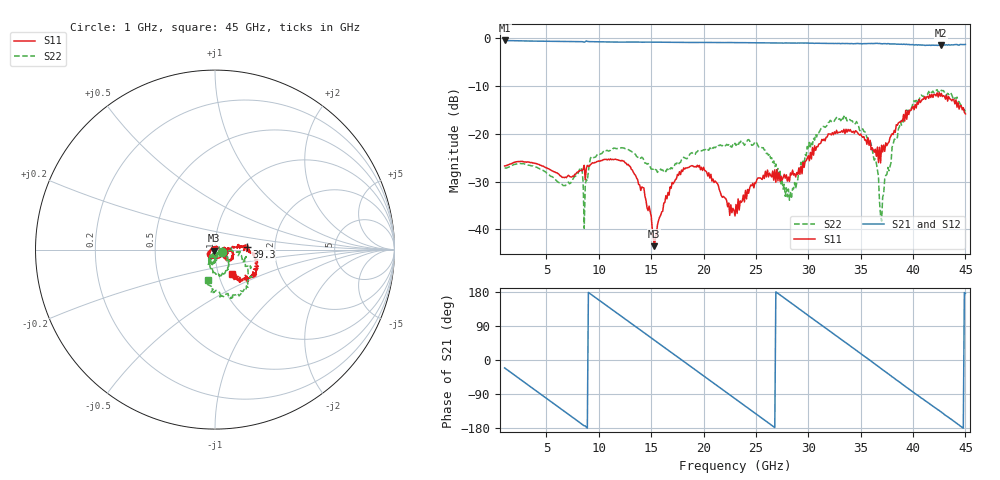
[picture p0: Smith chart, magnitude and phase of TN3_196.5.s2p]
!Keysight Technologies,N5247B,MY61255062,A.19.80.06
!Date: Monday, May 18, 2026 12:23:53
!Correction: S11(Cdelta 2-Port  )
!S21(Cdelta 2-Port  )
!S12(Cdelta 2-Port  )
!S22(Cdelta 2-Port  )
!S2P File: Measurements: S11, S21, S12, S22:
# Hz S  dB  R 50
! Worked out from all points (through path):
!   441 points, 1 GHz to 45 GHz, reference 50 ohm
!   highest |S21| = -0.41 dB at 1 GHz (marker M1); lowest = -1.5 dB at 42.7 GHz (marker M2)
!   group delay of S21, straight-line fit = 55.8 ps
!   lowest |S11| = -43.5 dB at 15.3 GHz (marker M3), VSWR 1.01, Z = 49.6 - j0.55 ohm
!   |S11| at or under -10 dB: start of sweep to end of sweep
!   |S22| runs from -39.8 to -10.7 dB; largest |S21 - S12| = 0.017
!   S11 on the Smith chart (normalised r, x): 1 GHz: 1.09, -0.03; 39.3 GHz: 1.43, +0.04; 45 GHz: 1.16, -0.32
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1e9  -26.70 -18.7  -0.41 -20.8  -0.41 -20.8  -27.06 -20.4
4.6e9  -26.72 -95.9  -0.57 -93.3  -0.57 -93.3  -27.63 -94.0
8.4e9  -27.71 -100.7  -0.67 -169.7  -0.67 -169.7  -27.64 -66.7
9.4e9  -26.02 -107.4  -0.68 170.3  -0.68 170.3  -24.74 -80.6
1.22e10  -25.54 -141.3  -0.76 114.4  -0.76 114.4  -22.88 -109.0
1.43e10  -31.29 -164.9  -0.77 72.5  -0.77 72.4  -25.47 -124.5
1.53e10  -43.50 -124.0  -0.78 52.4  -0.78 52.3  -27.13 -115.0
1.57e10  -38.10 -88.1  -0.78 44.3  -0.78 44.3  -27.70 -111.0
1.9e10  -26.75 -113.7  -0.83 -21.7  -0.83 -21.7  -24.22 -87.8
2.11e10  -29.85 -152.8  -0.87 -63.8  -0.87 -63.9  -22.88 -93.5
2.3e10  -37.17 87.5  -0.87 -102.0  -0.87 -102.1  -21.95 -98.1
2.68e10  -27.50 -27.2  -0.92 -178.2  -0.92 -178.3  -26.82 -122.1
2.82e10  -29.94 -18.0  -0.96 153.6  -0.94 153.5  -33.88 -77.1
3.04e10  -22.83 2.3  -0.98 109.4  -1.00 109.1  -22.25 -37.9
3.24e10  -20.17 -11.8  -1.05 69.2  -1.06 69.2  -17.57 -63.3
3.46e10  -19.47 -35.9  -1.04 25.1  -1.12 25.1  -17.40 -94.4
3.6e10  -23.31 -41.4  -1.04 -3.0  -1.04 -3.0  -22.15 -113.2
3.7e10  -22.38 -15.9  -1.09 -23.6  -1.09 -23.5  -38.26 -74.1
3.77e10  -21.72 -0.3  -1.10 -37.7  -1.12 -37.9  -27.70 5.1
3.93e10  -15.06 4.8  -1.25 -70.5  -1.24 -71.0  -15.85 -20.1
4.27e10  -11.49 -34.9  -1.47 -137.3  -1.38 -137.5  -10.83 -69.7
4.5e10  -15.79 -55.2  -1.25 175.8  -1.30 175.4  -15.27 -102.8
